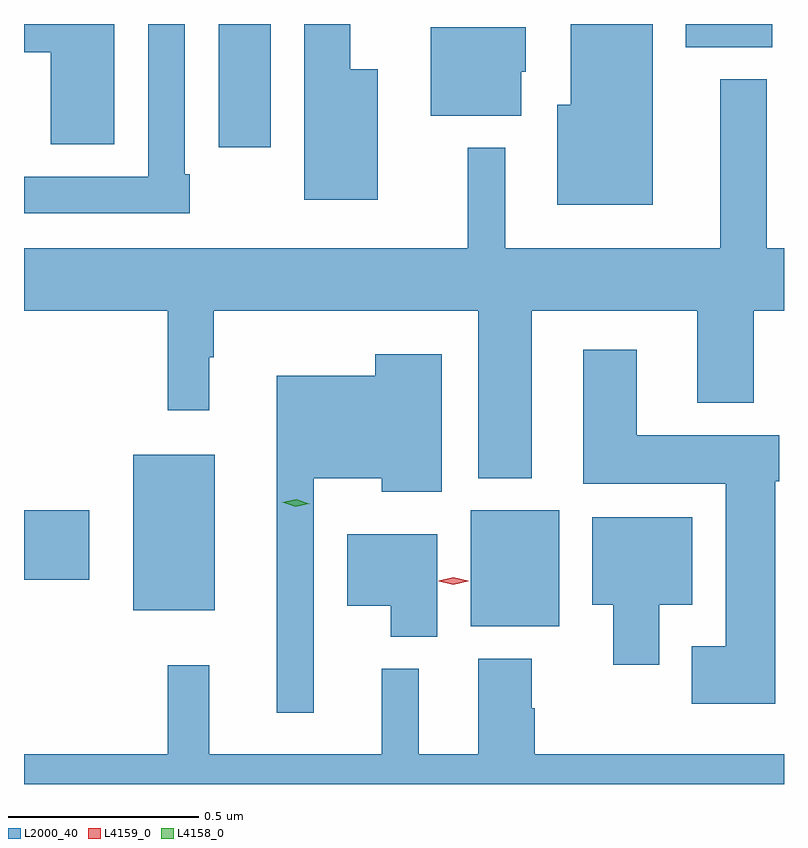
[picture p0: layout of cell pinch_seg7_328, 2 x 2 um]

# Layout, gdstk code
import gdstk
lib = gdstk.Library(unit=1e-6, precision=1e-09)
def R(c, l, rs):  # rectangles x0, y0, x1, y1
    for r in rs: c.add(gdstk.rectangle(r[:2], r[2:], *l))
def P(c, l, *ps):  # polygons
    for p in ps: c.add(gdstk.Polygon(p, *l))
L2000_40 = (2000, 40)
L4158_0 = (4158, 0)
L4159_0 = (4159, 0)

pinch_seg7_328 = lib.new_cell('pinch_seg7_328')
R(pinch_seg7_328, L2000_40, [(588.488,1054.397,588.721,1054.702), (587.6,1054.439,587.815,1054.849), (587.313,1054.519,587.485,1054.702), (587.825,1055.658,587.962,1055.982), (589.055,1055.921,589.282,1055.982)])
P(pinch_seg7_328, L2000_40, [(588.967,1055.982),(588.752,1055.982),(588.752,1055.77),(588.716,1055.77),(588.716,1055.507),(588.967,1055.507)],
  [(587.551,1055.982),(587.313,1055.982),(587.313,1055.908),(587.384,1055.908),(587.384,1055.665),(587.551,1055.665)],
  [(588.244,1055.863),(588.172,1055.863),(588.172,1055.982),(588.05,1055.982),(588.05,1055.519),(588.244,1055.519)],
  [(587.749,1055.587),(587.736,1055.587),(587.736,1055.982),(587.64,1055.982),(587.64,1055.58),(587.313,1055.58),(587.313,1055.484),(587.749,1055.484)],
  [(588.622,1055.856),(588.634,1055.856),(588.634,1055.974),(588.383,1055.974),(588.383,1055.741),(588.622,1055.741)],
  [(588.649,1055.228),(589.085,1055.228),(589.085,1054.985),(589.233,1054.985),(589.233,1055.228),(589.313,1055.228),(589.313,1055.392),(589.267,1055.392),(589.267,1055.836),(589.145,1055.836),(589.145,1055.392),(588.58,1055.392),(588.58,1055.656),(588.481,1055.656),(588.481,1055.392),(587.313,1055.392),(587.313,1055.228),(587.691,1055.228),(587.691,1054.965),(587.8,1054.965),(587.8,1055.105),(587.812,1055.105),(587.812,1055.228),(588.509,1055.228),(588.509,1054.787),(588.649,1054.787)],
  [(589.29,1054.779),(589.3,1054.779),(589.3,1054.9),(588.925,1054.9),(588.925,1055.125),(588.785,1055.125),(588.785,1054.772),(589.16,1054.772),(589.16,1054.345),(589.07,1054.345),(589.07,1054.193),(589.29,1054.193)],
  [(588.075,1054.787),(588.254,1054.787),(588.254,1054.751),(588.412,1054.751),(588.412,1055.113),(588.237,1055.113),(588.237,1055.056),(587.978,1055.056),(587.978,1054.17),(588.075,1054.17)],
  [(588.985,1054.454),(589.072,1054.454),(589.072,1054.684),(588.809,1054.684),(588.809,1054.454),(588.863,1054.454),(588.863,1054.296),(588.985,1054.296)],
  [(588.4,1054.639),(588.164,1054.639),(588.164,1054.451),(588.278,1054.451),(588.278,1054.37),(588.4,1054.37)],
  [(589.313,1054.06),(588.657,1054.06),(588.657,1054.181),(588.649,1054.181),(588.649,1054.312),(588.509,1054.312),(588.509,1054.06),(588.352,1054.06),(588.352,1054.285),(588.254,1054.285),(588.254,1054.06),(587.801,1054.06),(587.801,1054.294),(587.691,1054.294),(587.691,1054.06),(587.313,1054.06),(587.313,1053.982),(589.313,1053.982)])
P(pinch_seg7_328, L4158_0, [(588.028,1054.712),(587.993,1054.723),(587.993,1054.724),(587.993,1054.724),(588.029,1054.732),(588.064,1054.72),(588.065,1054.72),(588.064,1054.72)])
P(pinch_seg7_328, L4159_0, [(588.443,1054.506),(588.404,1054.516),(588.404,1054.516),(588.404,1054.517),(588.443,1054.526),(588.482,1054.517),(588.482,1054.516),(588.482,1054.516)])

lib.write_gds('pinch_seg7_328.gds')
